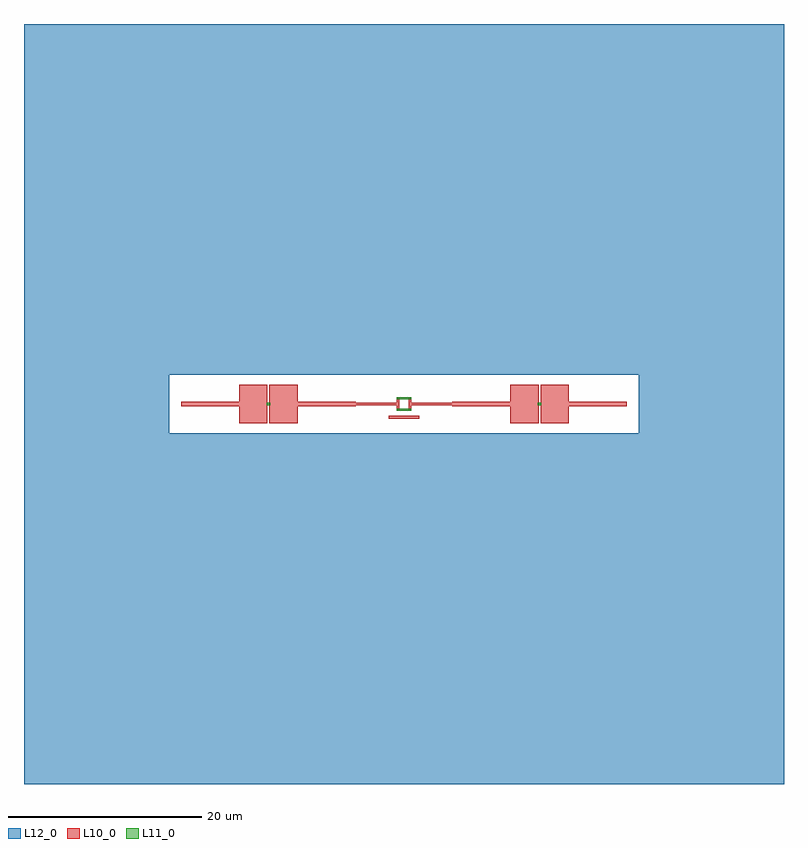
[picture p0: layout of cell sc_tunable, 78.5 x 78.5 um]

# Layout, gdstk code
import gdstk
lib = gdstk.Library(unit=1e-6, precision=1e-09)
def R(c, l, rs):  # rectangles x0, y0, x1, y1
    for r in rs: c.add(gdstk.rectangle(r[:2], r[2:], *l))
L10_0 = (10, 0)
L11_0 = (11, 0)
L12_0 = (12, 0)

sc_tunable = lib.new_cell('sc_tunable')
R(sc_tunable, L10_0, [(-17,-2,-14.1,2), (-13.9,-2,-11,2), (11,-2,13.9,2), (14.1,-2,17,2), (-0.725,-0.7,-0.475,0.7), (0.475,-0.7,0.725,0.7)])
R(sc_tunable, L11_0, [(-0.725,-0.7,0.725,-0.5), (-14.2,-0.15,-13.8,0.15), (13.8,-0.15,14.2,0.15), (-0.725,0.5,0.725,0.7)])
R(sc_tunable, L12_0, [(-39.25,-39.25,39.25,-3), (-39.25,-3,-24.25,3), (24.25,-3,39.25,3), (-39.25,3,39.25,39.25)])
sc_tunable.add(gdstk.FlexPath([(-17,0),(-23,0)], 0.5, ends="flush", simple_path=True, layer=10, datatype=0))  # L10_0
sc_tunable.add(gdstk.FlexPath([(-11,0),(-5,0)], 0.5, ends="flush", simple_path=True, layer=10, datatype=0))  # L10_0
sc_tunable.add(gdstk.FlexPath([(11,0),(5,0)], 0.5, ends="flush", simple_path=True, layer=10, datatype=0))  # L10_0
sc_tunable.add(gdstk.FlexPath([(17,0),(23,0)], 0.5, ends="flush", simple_path=True, layer=10, datatype=0))  # L10_0
sc_tunable.add(gdstk.FlexPath([(-5.5,0),(-0.6,0)], 0.25, ends="flush", simple_path=True, layer=10, datatype=0))  # L10_0
sc_tunable.add(gdstk.FlexPath([(0.6,0),(5.5,0)], 0.25, ends="flush", simple_path=True, layer=10, datatype=0))  # L10_0
sc_tunable.add(gdstk.FlexPath([(-1.6,-1.35),(1.6,-1.35)], 0.3, ends="flush", simple_path=True, layer=10, datatype=0))  # L10_0

lib.write_gds('sc_tunable.gds')
